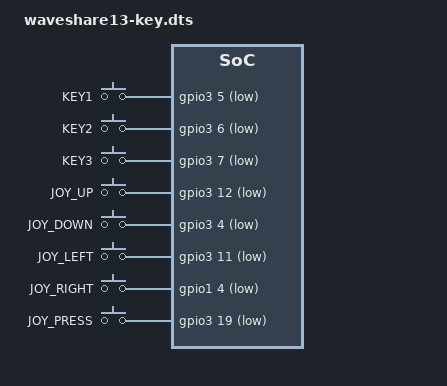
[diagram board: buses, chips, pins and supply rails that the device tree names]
/dts-v1/;
/plugin/;

/ {
    metadata {
        title = "Waveshare 1.3inch LCD HAT KEY";
        compatible = "radxa,zero3";
        category = "misc";
        description = "Waveshare 1.3inch LCD HAT For Radxa Zero 3W. This is the key part of the screen overlay";
    };
};

&{/} {
    buttons_joystick {
        compatible = "gpio-keys";
        pinctrl-names = "default";
        pinctrl-0 = <&buttons_joystick_pins>;

        key1 {
            label = "KEY1";
            gpios = <&gpio3 5 1>;
        };

        key2 {
            label = "KEY2";
            gpios = <&gpio3 6 1>;
        };

        key3 {
            label = "KEY3";
            gpios = <&gpio3 7 1>;
        };

        joy_up {
            label = "JOY_UP";
            gpios = <&gpio3 12 1>;
        };

        joy_down {
            label = "JOY_DOWN";
            gpios = <&gpio3 4 1>;
        };

        joy_left {
            label = "JOY_LEFT";
            gpios = <&gpio3 11 1>;
        };

        joy_right {
            label = "JOY_RIGHT";
            gpios = <&gpio1 4 1>;
        };

        joy_press {
            label = "JOY_PRESS";
            gpios = <&gpio3 19 1>;
        };
    };
};

&pinctrl {
    buttons_joystick {
        buttons_joystick_pins: buttons-joystick-pins {
            rockchip,pins = 
                <3 5 0 &pcfg_pull_up>,
                <3 6 0 &pcfg_pull_up>,
                <3 7 0 &pcfg_pull_up>,
                <3 12 0 &pcfg_pull_up>,
                <3 4 0 &pcfg_pull_up>,
                <3 11 0 &pcfg_pull_up>,
                <1 4 0 &pcfg_pull_up>,
                <3 19 0 &pcfg_pull_up>;
        };
    };
};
